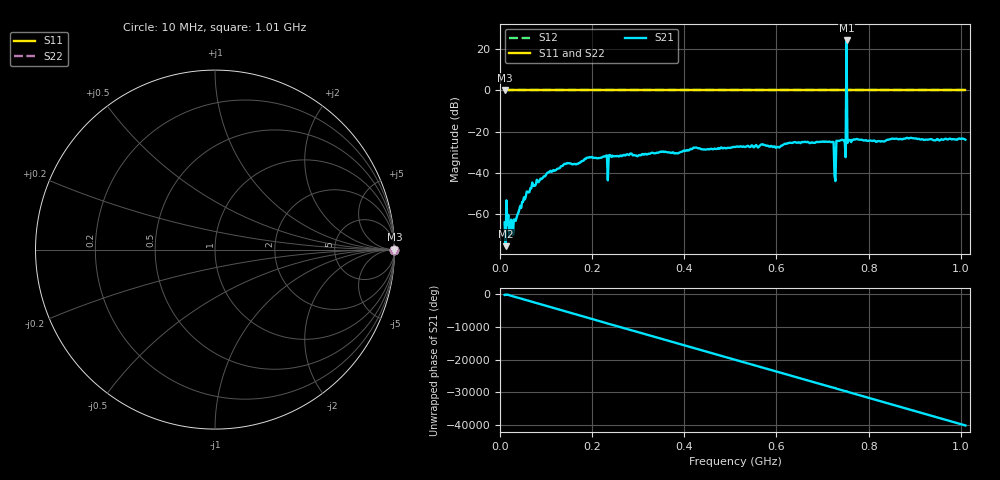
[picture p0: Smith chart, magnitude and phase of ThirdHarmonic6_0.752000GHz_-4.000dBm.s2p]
! 8/16/2025 1:08:29 AM
! C:\ANRITSUVNA\TEMP\TEMP.S2P
! CHANNEL.1
! TR.MEASUREMENT
! RAW.DATA
! RF.CORRECTION.OFF
! AVERAGING.OFF
! IF.BANDWIDTH: 5KHZ
! SWEEPTYPE:  FREQ.SWEEP(Linear)
! Reference Plane Port Info
! PORT:  PORT1  PORT2
! DISTANCE:  0  m  0  m
! TIME:  0  s  0  s
! PHASE.OFFSET:  0  deg.  0  deg.
! LOSS:  0  dB  0  dB
! REF.LOSS:  0  dB  0  dB
! REF.FREQ:  0  Hz  0  Hz
! Power Info
! POWER:  -20  dBm  -20  dBm
! EFF.POWER:  -20  dBm  -20  dBm
! SOURCE.ATTEN:  0  dB  0  dB
! TEST.ATTEN:  0  dB  0  dB
# GHZ S RI R 50.0
! FREQ.GHZ  S11RE  S11IM  S21RE  S21IM  S12RE  S12IM  S22RE  S22IM
!; PortSelection: Port_12
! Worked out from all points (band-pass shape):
!   501 points, 10 MHz to 1.01 GHz, reference 50 ohm
!   highest |S21| = 23.94 dB at 752 MHz (marker M1); lowest = -75.3 dB at 12 MHz (marker M2)
!   |S21| within 3 dB of the highest: 751.8935 MHz to 752.1212 MHz (227.8 kHz wide, 0.0303 % of centre)
!   lowest |S11| = 0.0 dB at 10 MHz (marker M3)
!   |S11| at or under -10 dB: nowhere
!   |S22| runs from 0.0 to 0.0 dB; largest |S21 - S12| = 16
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0.01  1 0  -0.000571 -0.00029  1 0  1 0
0.012  1 0  0.000137 -0.000103  1 0  1 0
0.018  1 0  -0.000633 -0.000739  1 0  1 0
0.024  1 0  0.00055 -0.00051  1 0  1 0
0.056  1 0  -0.00101 0.00253  1 0  1 0
0.104  1 0  0.0057 -0.00849  1 0  1 0
0.142  1 0  -0.0152 -0.00614  1 0  1 0
0.178  1 0  -0.019 -0.00428  1 0  1 0
0.344  1 0  0.0303 -0.00646  1 0  1 0
0.51  1 0  -0.04 0.0134  1 0  1 0
0.678  1 0  -0.0216 -0.0494  1 0  1 0
0.72  1 0  0.0557 -0.00367  1 0  1 0
0.724  1 0  -0.0534 -0.0156  1 0  1 0
0.73  1 0  0.042 -0.0426  1 0  1 0
0.734  1 0  -0.053 0.0273  1 0  1 0
0.746  1 0  0.0528 0.0289  1 0  1 0
0.748  1 0  0.0361 -0.0489  1 0  1 0
0.752  1 0  -5.268 -14.83  1 0  1 0
0.756  1 0  0.06 -0.015  1 0  1 0
0.758  1 0  -0.00471 -0.0628  1 0  1 0
0.844  1 0  0.0426 0.0475  1 0  1 0
1.01  1 0  -0.0598 -0.0211  1 0  1 0
